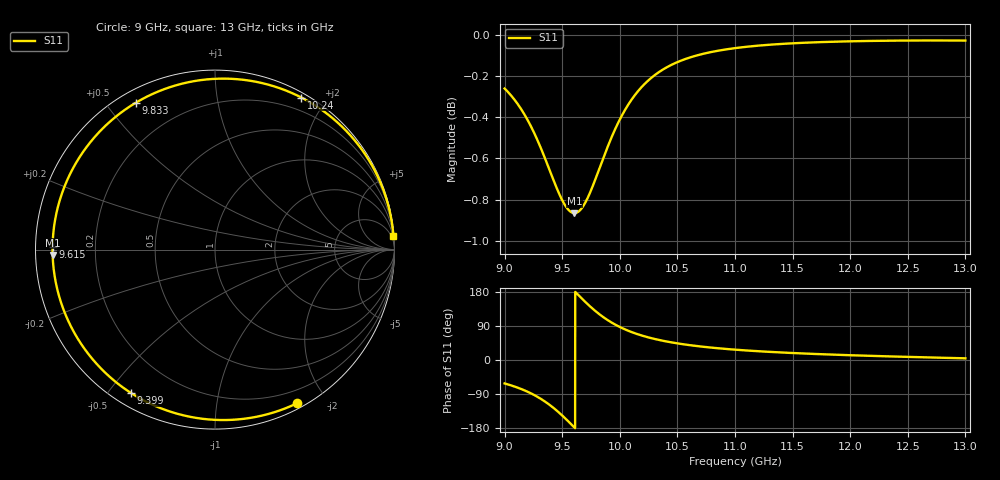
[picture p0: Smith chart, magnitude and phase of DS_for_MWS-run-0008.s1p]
! TOUCHSTONE file generated by CST DESIGN STUDIO
! Date and time: Tue Feb  4 14:04:21 2025
! Project name: C:\Work\MatlabApps\UnitCellOptimizationMatlab\CST\unitcell.cst
! Tree item: Tasks\Sweep1\SPara1\S-Parameters
! Header version: 2024
! Port assignment regex: !\s*Touchstone port\s*([0-9]+)\s*=\s*(CST MWS port|CST DES external port|CST DES block port)\s*(.+)\s* \(\"(.*)\"\)(\s*mode\s*([0-9]+))?.*
! Touchstone port assignment:
! Touchstone port 1 = CST DES external port 1 ("")
# GHz S MA R 50
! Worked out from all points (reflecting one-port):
!   4001 points, 9 GHz to 13 GHz, reference 50 ohm
!   lowest |S11| = -0.9 dB at 9.606 GHz (marker M1), VSWR 20.08, Z = 2.49 - j0.805 ohm
!   phase of S11 starts at -62 deg and turns -294 deg over the sweep
!   S11 on the Smith chart (normalised r, x): 9 GHz: 0.06, -1.67; 9.399 GHz: 0.05, -0.57; 9.615 GHz: 0.05, +0.01; 9.833 GHz: 0.05, +0.59; 10.24 GHz: 0.05, +1.72; 13 GHz: 1, +26
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9  0.9705 -61.9
9.052  0.967 -66.6
9.123  0.9613 -74.0
9.185  0.9552 -81.8
9.245  0.9482 -90.5
9.327  0.9369 -104.9
9.399  0.9259 -120.3
9.449  0.9184 -132.6
9.5  0.9117 -146.5
9.555  0.9068 -162.6
9.606  0.9051 -178.1
9.615  0.9052 179.1
9.66  0.9069 165.3
9.708  0.9113 151.0
9.771  0.9198 133.6
9.833  0.9297 118.4
9.91  0.9417 102.3
10  0.9538 87.1
10.114  0.9655 72.4
10.239  0.9744 60.4
10.36  0.9803 51.6
10.5  0.985 43.9
10.72  0.9895 35.0
11  0.9927 27.3
11.5  0.9954 18.4
12  0.9965 12.6
12.5  0.9969 8.2
13  0.9969 4.4
